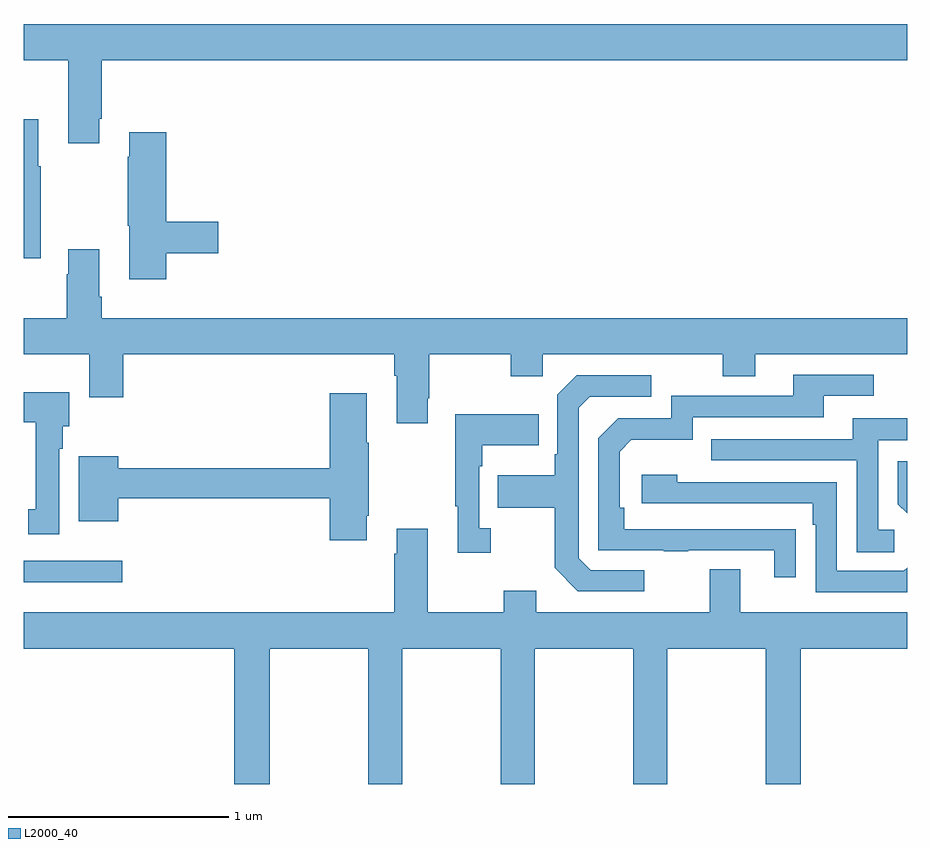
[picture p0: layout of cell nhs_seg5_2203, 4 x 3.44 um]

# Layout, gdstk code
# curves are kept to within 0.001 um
import gdstk
lib = gdstk.Library(unit=1e-6, precision=1e-09)
def R(c, l, rs):  # rectangles x0, y0, x1, y1
    for r in rs: c.add(gdstk.rectangle(r[:2], r[2:], *l))
def P(c, l, *ps):  # polygons
    for p in ps: c.add(gdstk.Polygon(p, *l))
L2000_40 = (2000, 40)

nhs_seg5_2203 = lib.new_cell('nhs_seg5_2203')
R(nhs_seg5_2203, L2000_40, [(239,871.712,239.446,871.809)])
P(nhs_seg5_2203, L2000_40, [(239.341,873.811),(239.354,873.811),(239.354,874.076),(243,874.076),(243,874.24),(239,874.24),(239,874.076),(239.201,874.076),(239.201,873.699),(239.341,873.699)],
  [(239.077,873.595),(239.065,873.595),(239.065,873.808),(239,873.808),(239,873.179),(239.077,873.179)],
  [(239.645,873.202),(239.881,873.202),(239.881,873.344),(239.645,873.344),(239.645,873.751),(239.477,873.751),(239.477,873.638),(239.47,873.638),(239.47,873.327),(239.477,873.327),(239.477,873.084),(239.645,873.084)],
  [(240.829,872.545),(240.837,872.545),(240.837,872.744),(241.204,872.744),(241.204,872.645),(241.35,872.645),(241.35,872.744),(242.164,872.744),(242.164,872.645),(242.311,872.645),(242.311,872.744),(243,872.744),(243,872.908),(239.354,872.908),(239.354,873.004),(239.341,873.004),(239.341,873.22),(239.201,873.22),(239.201,873.107),(239.194,873.107),(239.194,872.908),(239,872.908),(239,872.744),(239.297,872.744),(239.297,872.55),(239.45,872.55),(239.45,872.744),(240.677,872.744),(240.677,872.648),(240.689,872.648),(240.689,872.433),(240.829,872.433)],
  [(242.495,871.952),(241.718,871.953),(241.718,872.05),(241.698,872.05),(241.698,872.304),(241.751,872.357),(242.028,872.357),(242.028,872.46),(242.623,872.46),(242.623,872.556),(242.848,872.556),(242.848,872.652),(242.483,872.652),(242.483,872.556),(241.932,872.556),(241.932,872.454),(241.692,872.454),(241.602,872.364),(241.602,871.857),(241.897,871.857),(241.897,871.852),(242.009,871.852),(242.009,871.857),(242.399,871.857),(242.399,871.734),(242.495,871.734)],
  [(241.81,871.767),(241.566,871.767),(241.512,871.821),(241.512,872.502),(241.563,872.553),(241.84,872.553),(241.84,872.649),(241.503,872.649),(241.416,872.562),(241.416,872.293),(241.404,872.293),(241.404,872.197),(241.147,872.197),(241.147,872.05),(241.404,872.05),(241.404,871.777),(241.509,871.671),(241.81,871.671)],
  [(239.161,872.318),(239.176,872.318),(239.176,872.418),(239.206,872.418),(239.206,872.572),(239,872.572),(239,872.438),(239.054,872.438),(239.054,872.042),(239.021,872.042),(239.021,871.929),(239.161,871.929)],
  [(240.553,872.014),(240.561,872.014),(240.561,872.345),(240.553,872.345),(240.553,872.569),(240.386,872.569),(240.386,872.228),(239.428,872.228),(239.428,872.284),(239.249,872.284),(239.249,871.988),(239.428,871.988),(239.428,872.092),(240.386,872.092),(240.386,871.902),(240.553,871.902)],
  [(241.114,871.958),(241.062,871.958),(241.062,872.237),(241.075,872.237),(241.075,872.333),(241.331,872.333),(241.331,872.473),(240.954,872.473),(240.954,872.057),(240.965,872.057),(240.965,871.845),(241.114,871.845)],
  [(242.941,871.95),(242.868,871.95),(242.868,872.355),(243,872.355),(243,872.455),(242.753,872.455),(242.753,872.361),(242.113,872.361),(242.113,872.265),(242.772,872.265),(242.772,871.849),(242.941,871.849)],
  [(243,872.26),(242.958,872.26),(242.958,872.066),(243,872.024)],
  [(243,871.779),(242.985,871.764),(242.682,871.764),(242.682,872.166),(241.958,872.166),(241.958,872.2),(241.797,872.2),(241.797,872.07),(242.573,872.07),(242.573,871.973),(242.586,871.973),(242.586,871.668),(243,871.668)],
  [(239,871.412),(239.954,871.412),(239.954,870.799),(240.114,870.799),(240.114,871.412),(240.559,871.412),(240.559,870.799),(240.714,870.799),(240.714,871.412),(241.159,871.412),(241.159,870.799),(241.314,870.799),(241.314,871.412),(241.759,871.412),(241.759,870.799),(241.914,870.799),(241.914,871.412),(242.359,871.412),(242.359,870.799),(242.519,870.799),(242.519,871.412),(243,871.412),(243,871.576),(242.245,871.576),(242.245,871.771),(242.105,871.771),(242.105,871.576),(241.321,871.576),(241.321,871.675),(241.174,871.675),(241.174,871.576),(240.829,871.576),(240.829,871.954),(240.689,871.954),(240.689,871.841),(240.677,871.841),(240.677,871.576),(239,871.576)])

lib.write_gds('nhs_seg5_2203.gds')
